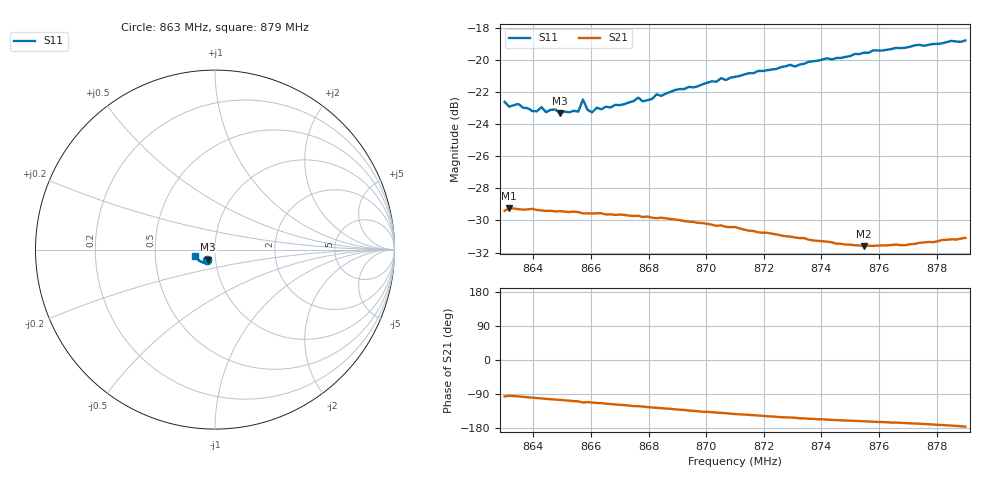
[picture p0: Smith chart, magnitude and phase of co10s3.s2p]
# HZ S RI R 50
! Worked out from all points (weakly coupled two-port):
!   101 points, 863 MHz to 879 MHz, reference 50 ohm
!   highest |S21| = -29.25 dB at 863.16 MHz (marker M1); lowest = -31.6 dB at 875.48 MHz (marker M2)
!   lowest |S11| = -23.3 dB at 864.92 MHz (marker M3), VSWR 1.15, Z = 46 - j5.23 ohm
!   |S11| at or under -10 dB: start of sweep to end of sweep
!   S12 and S22 are empty: the file has one direction only
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8.63e8  -0.0457 -0.0584  -0.00362 -0.0337  0 0  0 0
8.6316e8  -0.0444 -0.0563  -0.00267 -0.0344  0 0  0 0
8.6348e8  -0.0441 -0.0582  -0.00365 -0.0341  0 0  0 0
8.6396e8  -0.0409 -0.0562  -0.00552 -0.0339  0 0  0 0
8.6428e8  -0.0415 -0.0581  -0.00675 -0.0333  0 0  0 0
8.6444e8  -0.0402 -0.0559  -0.00741 -0.033  0 0  0 0
8.6476e8  -0.0407 -0.0573  -0.0084 -0.0327  0 0  0 0
8.6492e8  -0.0383 -0.0565  -0.00888 -0.0326  0 0  0 0
8.6556e8  -0.0384 -0.0575  -0.011 -0.0317  0 0  0 0
8.6572e8  -0.0441 -0.0612  -0.0125 -0.0308  0 0  0 0
8.6588e8  -0.0377 -0.059  -0.0119 -0.0311  0 0  0 0
8.6604e8  -0.0358 -0.0587  -0.0126 -0.0308  0 0  0 0
8.662e8  -0.038 -0.0602  -0.0132 -0.0306  0 0  0 0
8.6668e8  -0.0371 -0.0608  -0.0145 -0.0297  0 0  0 0
8.6764e8  -0.0387 -0.066  -0.0173 -0.0278  0 0  0 0
8.678e8  -0.0378 -0.0641  -0.0176 -0.0272  0 0  0 0
8.6844e8  -0.0394 -0.0666  -0.0195 -0.0257  0 0  0 0
8.71e8  -0.0516 -0.0723  -0.024 -0.0183  0 0  0 0
8.7372e8  -0.0696 -0.0708  -0.0249 -0.0114  0 0  0 0
8.7548e8  -0.0839 -0.0641  -0.025 -0.00823  0 0  0 0
8.7644e8  -0.091 -0.0591  -0.0256 -0.00681  0 0  0 0
8.79e8  -0.1089 -0.0379  -0.0278 -0.00207  0 0  0 0
